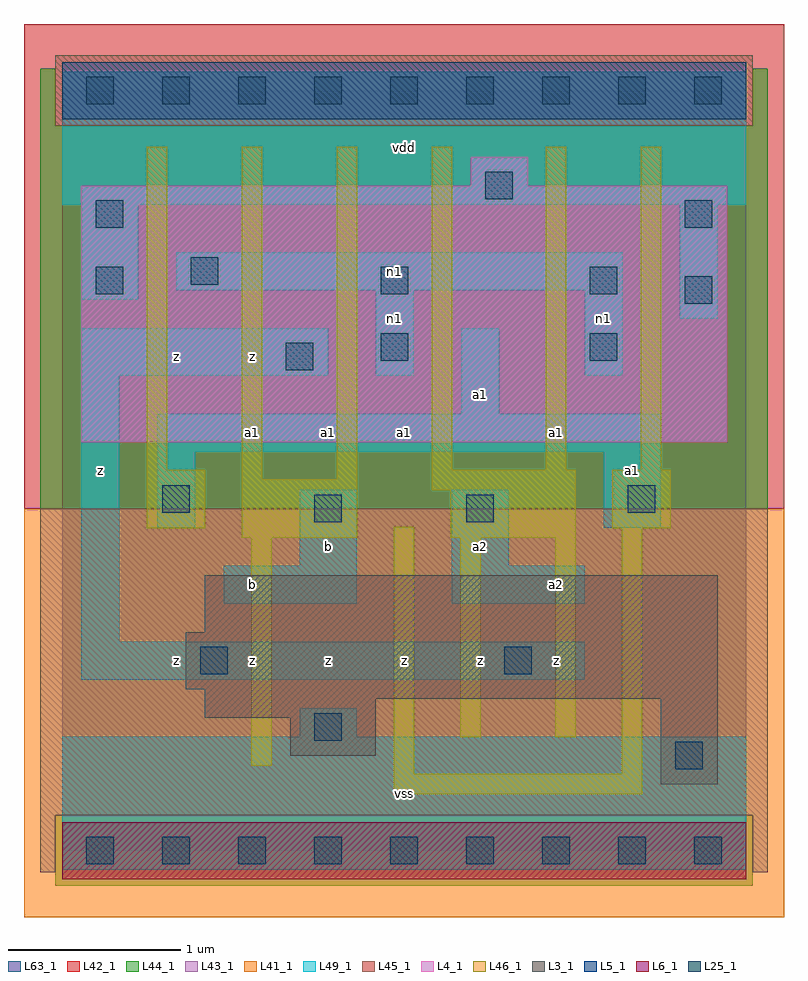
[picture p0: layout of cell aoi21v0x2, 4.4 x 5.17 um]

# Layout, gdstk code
import gdstk
lib = gdstk.Library(unit=1e-6, precision=1e-09)
def R(c, l, rs):  # rectangles x0, y0, x1, y1
    for r in rs: c.add(gdstk.rectangle(r[:2], r[2:], *l))
def A(c, l, x, y, w, h, nx, ny, dx, dy):  # array of equal rectangles
    R(c, l, [(x+i*dx, y+j*dy, x+i*dx+w, y+j*dy+h) for i in range(nx) for j in range(ny)])
L3_1 = (3, 1)
L4_1 = (4, 1)
L5_1 = (5, 1)
L6_1 = (6, 1)
L25_1 = (25, 1)
L41_1 = (41, 1)
L42_1 = (42, 1)
L43_1 = (43, 1)
L44_1 = (44, 1)
L45_1 = (45, 1)
L46_1 = (46, 1)
L49_1 = (49, 1)
L63_1 = (63, 1)

aoi21v0x2 = lib.new_cell('aoi21v0x2')
R(aoi21v0x2, L3_1, [(3.465,0.385,3.795,0.88), (1.32,0.55,1.815,0.77), (0.825,0.77,1.815,0.88), (0.825,0.88,3.795,0.935), (0.715,0.935,3.795,1.265), (0.825,1.265,3.795,1.595)])
R(aoi21v0x2, L4_1, [(0.11,2.365,3.85,3.85), (2.365,3.85,2.695,4.015)])
R(aoi21v0x2, L5_1, [(0,4.235,3.96,4.565)])
R(aoi21v0x2, L6_1, [(0,-0.165,3.96,0.165)])
A(aoi21v0x2, L25_1, 0.14, -0.08, 0.16, 0.16, 9, 2, 0.44, 4.4)
R(aoi21v0x2, L25_1, [(3.55,0.47,3.71,0.63), (1.46,0.635,1.62,0.795), (0.8,1.02,0.96,1.18), (2.56,1.02,2.72,1.18), (1.46,1.9,1.62,2.06), (2.34,1.9,2.5,2.06), (0.58,1.955,0.74,2.115), (3.275,1.955,3.435,2.115), (1.295,2.78,1.455,2.94), (1.845,2.835,2.005,2.995), (3.055,2.835,3.215,2.995), (3.605,3.165,3.765,3.325), (0.195,3.22,0.355,3.38), (1.845,3.22,2.005,3.38), (3.055,3.22,3.215,3.38), (0.745,3.275,0.905,3.435), (0.195,3.605,0.355,3.765), (3.605,3.605,3.765,3.765), (2.45,3.77,2.61,3.93)])
R(aoi21v0x2, L41_1, [(-0.22,-0.385,4.18,1.98)])
R(aoi21v0x2, L42_1, [(-0.22,1.98,4.18,4.785)])
R(aoi21v0x2, L43_1, [(0,-0.165,3.96,0.165), (3.465,0.385,3.795,0.88), (1.32,0.55,1.815,0.77), (0.825,0.77,1.815,0.88), (0.825,0.88,3.795,0.935), (0.715,0.935,3.795,1.265), (0.825,1.265,3.795,1.595), (0.11,2.365,3.85,3.85), (2.365,3.85,2.695,4.015), (0,4.235,3.96,4.565)])
R(aoi21v0x2, L44_1, [(-0.04,-0.205,4,0.205), (-0.125,1.98,4.085,4.195), (-0.125,4.195,-0.04,4.525), (4,4.195,4.085,4.525)])
R(aoi21v0x2, L45_1, [(-0.125,-0.125,-0.04,0.205), (4,-0.125,4.085,0.205), (-0.125,0.205,4.085,1.98), (-0.04,4.195,4,4.605)])
R(aoi21v0x2, L46_1, [(1.92,0.325,3.36,0.445), (1.92,0.445,2.04,1.875), (3.24,0.445,3.36,1.865), (1.095,0.49,1.215,1.81), (2.305,0.655,2.425,1.81), (2.855,0.655,2.975,1.81), (1.04,1.81,1.71,2.15), (2.25,1.81,2.975,2.085), (0.49,1.865,0.83,2.205), (3.185,1.865,3.525,2.205), (2.14,2.085,2.975,2.205), (1.04,2.15,1.16,4.075), (1.59,2.15,1.71,4.075), (0.49,2.205,0.61,4.075), (2.14,2.205,2.26,4.075), (2.8,2.205,2.92,4.075), (3.35,2.205,3.47,4.075)])
R(aoi21v0x2, L49_1, [(0,-0.11,3.96,0.66), (1.375,0.66,1.705,0.825), (0.11,0.99,3.025,1.21), (0.11,1.21,0.33,2.75), (0.935,1.43,1.705,1.65), (2.255,1.43,3.025,1.65), (1.375,1.65,1.705,2.09), (2.255,1.65,2.585,2.09), (0.55,1.87,0.77,2.31), (3.135,1.87,3.465,2.31), (0.55,2.31,3.465,2.53), (2.31,2.53,2.53,3.025), (0.11,2.75,1.54,3.025), (1.815,2.75,2.035,3.245), (3.025,2.75,3.245,3.245), (3.575,3.08,3.795,3.74), (0.11,3.19,0.44,3.74), (0.66,3.245,3.245,3.465), (0,3.74,3.96,4.51)])
R(aoi21v0x2, L63_1, [(0,0,3.96,4.4)])
aoi21v0x2.add(gdstk.Label('z', (0.22,2.2), layer=49, texttype=1))
aoi21v0x2.add(gdstk.Label('z', (0.66,1.1), layer=49, texttype=1))
aoi21v0x2.add(gdstk.Label('z', (1.1,1.1), layer=49, texttype=1))
aoi21v0x2.add(gdstk.Label('b', (1.1,1.54), layer=49, texttype=1))
aoi21v0x2.add(gdstk.Label('a1', (1.1,2.42), layer=49, texttype=1))
aoi21v0x2.add(gdstk.Label('z', (1.1,2.86), layer=49, texttype=1))
aoi21v0x2.add(gdstk.Label('z', (0.66,2.86), layer=49, texttype=1))
aoi21v0x2.add(gdstk.Label('vss', (1.98,0.33), layer=49, texttype=1))
aoi21v0x2.add(gdstk.Label('z', (1.54,1.1), layer=49, texttype=1))
aoi21v0x2.add(gdstk.Label('z', (1.98,1.1), layer=49, texttype=1))
aoi21v0x2.add(gdstk.Label('b', (1.54,1.76), layer=49, texttype=1))
aoi21v0x2.add(gdstk.Label('a1', (1.54,2.42), layer=49, texttype=1))
aoi21v0x2.add(gdstk.Label('a1', (1.98,2.42), layer=49, texttype=1))
aoi21v0x2.add(gdstk.Label('n1', (1.925,3.08), layer=49, texttype=1))
aoi21v0x2.add(gdstk.Label('vdd', (1.98,4.07), layer=49, texttype=1))
aoi21v0x2.add(gdstk.Label('z', (2.42,1.1), layer=49, texttype=1))
aoi21v0x2.add(gdstk.Label('z', (2.86,1.1), layer=49, texttype=1))
aoi21v0x2.add(gdstk.Label('a2', (2.86,1.54), layer=49, texttype=1))
aoi21v0x2.add(gdstk.Label('a2', (2.42,1.76), layer=49, texttype=1))
aoi21v0x2.add(gdstk.Label('a1', (2.86,2.42), layer=49, texttype=1))
aoi21v0x2.add(gdstk.Label('a1', (2.42,2.64), layer=49, texttype=1))
aoi21v0x2.add(gdstk.Label('a1', (3.3,2.2), layer=49, texttype=1))
aoi21v0x2.add(gdstk.Label('n1', (3.135,3.08), layer=49, texttype=1))
aoi21v0x2.add(gdstk.Label('n1', (1.925,3.355), layer=49, texttype=1))

lib.write_gds('aoi21v0x2.gds')
